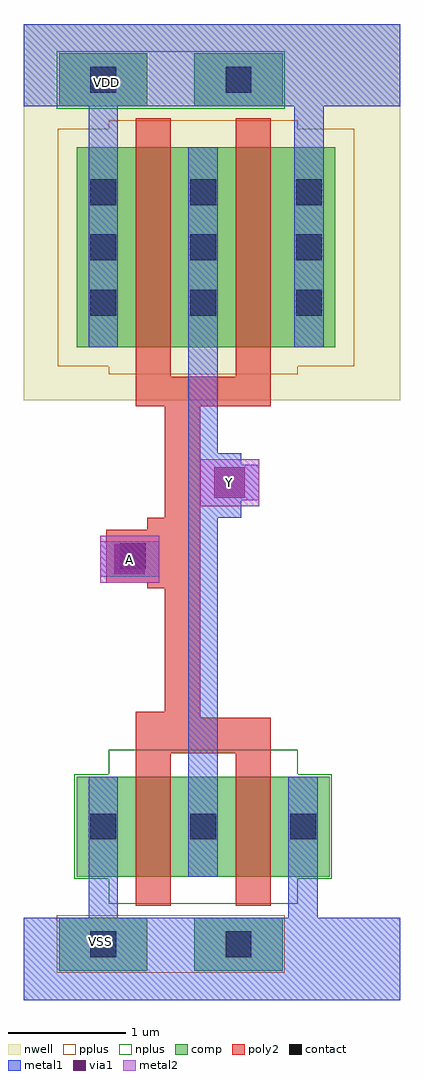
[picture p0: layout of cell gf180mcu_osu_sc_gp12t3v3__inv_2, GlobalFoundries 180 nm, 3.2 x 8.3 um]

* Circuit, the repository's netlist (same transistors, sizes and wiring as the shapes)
* Copyright 2022 Google LLC
*
* Licensed under the Apache License, Version 2.0 (the "License");
* you may not use this file except in compliance with the License.
* You may obtain a copy of the License at
*
*      http://www.apache.org/licenses/LICENSE-2.0
*
* Unless required by applicable law or agreed to in writing, software
* distributed under the License is distributed on an "AS IS" BASIS,
* WITHOUT WARRANTIES OR CONDITIONS OF ANY KIND, either express or implied.
* See the License for the specific language governing permissions and
* limitations under the License.

.option scale=0.05u

.subckt gf180mcu_osu_sc_gp12t3v3__inv_2 A Y
X0 VDD A Y VDD pmos_3p3 w=34 l=6
X1 Y A VDD VDD pmos_3p3 w=34 l=6
X2 Y A VSS VSS nmos_3p3 w=17 l=6
X3 VSS A Y VSS nmos_3p3 w=17 l=6
.ends

** hspice subcircuit dictionary

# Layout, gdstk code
import gdstk
lib = gdstk.Library(unit=1e-6, precision=1e-09)
def R(c, l, rs):  # rectangles x0, y0, x1, y1
    for r in rs: c.add(gdstk.rectangle(r[:2], r[2:], *l))
def A(c, l, x, y, w, h, nx, ny, dx, dy):  # array of equal rectangles
    R(c, l, [(x+i*dx, y+j*dy, x+i*dx+w, y+j*dy+h) for i in range(nx) for j in range(ny)])
nwell = (21, 0)
comp = (22, 0)
poly2 = (30, 0)
pplus = (31, 0)
nplus = (32, 0)
contact = (33, 0)
metal1 = (34, 0)
via1 = (35, 0)
metal2 = (36, 0)

gf180mcu_osu_sc_gp12t3v3 = lib.new_cell('gf180mcu_osu_sc_gp12t3v3__inv_2')
R(gf180mcu_osu_sc_gp12t3v3, nwell, [(0,5.1,3.2,8.3)])
R(gf180mcu_osu_sc_gp12t3v3, comp, [(0.3,0.25,1.05,0.7), (1.45,0.25,2.2,0.7), (0.45,1.05,2.6,1.9), (0.45,5.55,2.65,7.25), (0.3,7.6,1.05,8.05), (1.45,7.6,2.2,8.05)])
R(gf180mcu_osu_sc_gp12t3v3, poly2, [(0.95,0.8,1.25,2.1), (1.8,0.8,2.1,2.1), (0.95,2.1,2.1,2.4), (0.95,2.4,1.5,2.45), (1.2,2.45,1.5,3.5), (1.05,3.5,1.5,3.55), (0.7,3.55,1.5,4), (1.05,4,1.5,4.1), (1.2,4.1,1.5,5.05), (0.95,5.05,2.1,5.3), (0.95,5.3,1.25,7.5), (1.8,5.3,2.1,7.5)])
R(gf180mcu_osu_sc_gp12t3v3, pplus, [(0.28,0.23,2.22,0.72), (0.72,5.32,2.33,5.39), (0.29,5.39,2.81,7.41), (0.72,7.41,2.33,7.48)])
R(gf180mcu_osu_sc_gp12t3v3, nplus, [(0.72,0.82,2.33,1.03), (0.43,1.03,2.62,1.92), (0.72,1.92,2.33,2.13), (0.28,7.58,2.22,8.07)])
A(gf180mcu_osu_sc_gp12t3v3, contact, 0.565, 1.365, 0.22, 0.22, 3, 1, 0.85, 0)
A(gf180mcu_osu_sc_gp12t3v3, contact, 0.565, 5.82, 0.22, 0.22, 1, 3, 0, 0.47)
A(gf180mcu_osu_sc_gp12t3v3, contact, 1.415, 5.82, 0.22, 0.22, 1, 3, 0, 0.47)
A(gf180mcu_osu_sc_gp12t3v3, contact, 2.315, 5.82, 0.22, 0.22, 1, 3, 0, 0.47)
R(gf180mcu_osu_sc_gp12t3v3, contact, [(0.565,0.365,0.785,0.585), (1.715,0.365,1.935,0.585), (0.815,3.665,1.035,3.885), (0.565,7.715,0.785,7.935), (1.715,7.715,1.935,7.935)])
R(gf180mcu_osu_sc_gp12t3v3, metal1, [(0,0,3.2,0.7), (0.55,0.7,0.8,1.9), (2.25,0.7,2.5,1.9), (1.4,1.05,1.65,4.1), (0.65,3.6,1.15,3.9), (1.4,4.1,1.85,4.25), (1.4,4.25,2,4.55), (1.4,4.55,1.85,4.65), (1.4,4.65,1.65,7.25), (0.55,5.55,0.8,7.6), (2.3,5.55,2.55,7.6), (0,7.6,3.2,8.3)])
R(gf180mcu_osu_sc_gp12t3v3, via1, [(0.77,3.62,1.03,3.88), (1.62,4.27,1.88,4.53)])
R(gf180mcu_osu_sc_gp12t3v3, metal2, [(0.65,3.55,1.15,3.95), (1.5,4.2,2,4.6)])
gf180mcu_osu_sc_gp12t3v3.add(gdstk.Label('A', (0.9,3.75), layer=36, texttype=10))
gf180mcu_osu_sc_gp12t3v3.add(gdstk.Label('Y', (1.75,4.4), layer=36, texttype=10))
gf180mcu_osu_sc_gp12t3v3.add(gdstk.Label('VDD', (0.7,7.8), layer=34, texttype=10))
gf180mcu_osu_sc_gp12t3v3.add(gdstk.Label('VSS', (0.65,0.5), layer=34, texttype=10))

lib.write_gds('gf180mcu_osu_sc_gp12t3v3__inv_2.gds')
